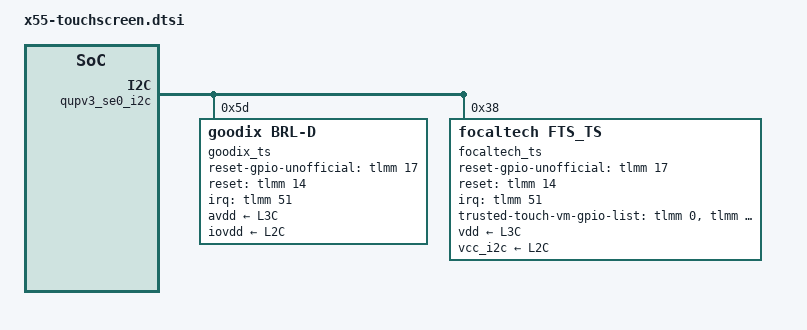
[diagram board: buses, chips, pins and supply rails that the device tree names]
/*M55 code for SR-QN6887A-01-401|446 by yuli at 20230921 start*/
&qupv3_se0_i2c {
    #address-cells = <1>;
    #size-cells = <0>;
    status = "ok";

    qcom,i2c-touch-active = "focaltech,fts_ts","goodix,brl-d";

    goodix_ts@5d {
        compatible = "goodix,brl-d";
        reg = <0x5d>;//0x14
        status = "ok";
        /*M55 code for QN6887A-45 by yubo at 20230911 start*/
        goodix,reset-gpio-unofficial = <&tlmm 17 0x0>;  //EVB0 and EVB1
        goodix,reset-gpio = <&tlmm 14 0x0>;             //EVB2
        /*M55 code for QN6887A-45 by yubo at 20230911 end*/
        goodix,irq-gpio = <&tlmm 51 0x2800>;
        goodix,irq-flags = <2>; /* 1:trigger rising, 2:trigger falling;*/
        goodix,panel-max-x = <1080>;
        goodix,panel-max-y = <2400>;
        goodix,panel-max-w = <255>;
        goodix,avdd-name = "avdd";
        avdd-supply = <&L3C>;
        goodix,iovdd-name = "iovdd";
        iovdd-supply = <&L2C>;
        qcom,touch-environment = "pvm";
        goodix,firmware-name = "gt9916_firmware.bin";
        goodix,config-name = "gt9916_cfg_group.bin";
    };

    focaltech_ts@38{
            compatible = "focaltech,fts_ts";
            reg = <0x38>;
            interrupt-parent = <&tlmm>;
            interrupts = <51 0x2800>;
            vdd-supply = <&L3C>; //2.8~3.3v
            vcc_i2c-supply = <&L2C>; //1.8v
            focaltech,reset-gpio-unofficial = <&tlmm 17 0x0>;  //only EVB0 and EVB1
            focaltech,reset-gpio = <&tlmm 14 0x0>;
            focaltech,irq-gpio = <&tlmm 51 0x2800>;
            focaltech,max-touch-number = <10>;
            focaltech,display-coords =  <0 0 1079 2399>;
            focaltech,ic-type = <0x56720090>;
            focaltech,touch-type = "primary";

            focaltech,touch-environment = "pvm";
           /*M55 code for SR-QN6887A-01-391 by hehaoran at 20231008 start*/
            focaltech,trusted-touch-mode = "vm_mode";
            focaltech,trusted-touch-type = "primary";
            focaltech,reset-gpio-base = <0xF10E000>;
            focaltech,intr-gpio-base = <0xF133000>;
            focaltech,trusted-touch-spi-irq = <566>;//601 754
            focaltech,trusted-touch-io-bases = <0x980000 0x910000>;//990000
            focaltech,trusted-touch-io-sizes = <0x1000 0x4000>;
            focaltech,trusted-touch-vm-gpio-list = <&tlmm 0 0 &tlmm 1 0 &tlmm 14 0 &tlmm 51 0x2008>;
            /*M55 code for SR-QN6887A-01-391 by hehaoran at 20231008 end*/
        };
};
/*M55 code for SR-QN6887A-01-401|446 by yuli at 20230921 end*/

